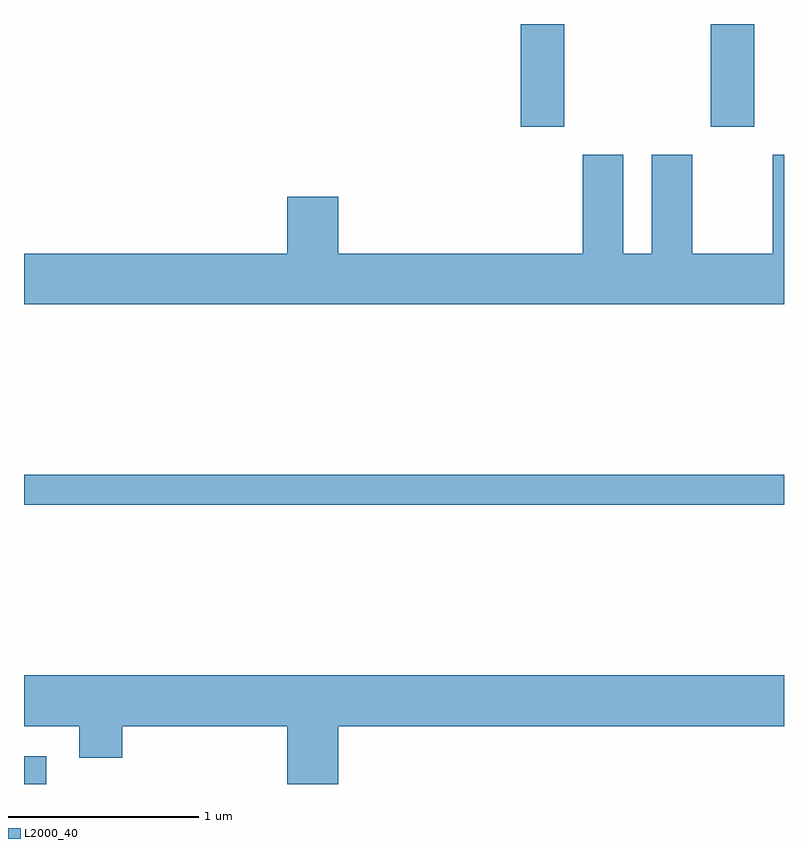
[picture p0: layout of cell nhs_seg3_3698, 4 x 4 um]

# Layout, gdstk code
import gdstk
lib = gdstk.Library(unit=1e-6, precision=1e-09)
def R(c, l, rs):  # rectangles x0, y0, x1, y1
    for r in rs: c.add(gdstk.rectangle(r[:2], r[2:], *l))
def P(c, l, *ps):  # polygons
    for p in ps: c.add(gdstk.Polygon(p, *l))
L2000_40 = (2000, 40)

nhs_seg3_3698 = lib.new_cell('nhs_seg3_3698')
R(nhs_seg3_3698, L2000_40, [(293.611,1167.892,293.729,1168.039), (293.611,1169.361,297.611,1169.519), (296.226,1171.351,296.454,1171.892), (297.226,1171.351,297.454,1171.892)])
P(nhs_seg3_3698, L2000_40, [(297.611,1171.204),(297.551,1171.204),(297.551,1170.684),(297.129,1170.684),(297.129,1171.204),(296.916,1171.204),(296.916,1170.684),(296.764,1170.684),(296.764,1171.204),(296.551,1171.204),(296.551,1170.684),(295.264,1170.684),(295.264,1170.984),(294.996,1170.984),(294.996,1170.684),(293.611,1170.684),(293.611,1170.416),(297.611,1170.416)],
  [(295.264,1168.196),(297.611,1168.196),(297.611,1168.464),(293.611,1168.464),(293.611,1168.196),(293.901,1168.196),(293.901,1168.031),(294.129,1168.031),(294.129,1168.196),(294.996,1168.196),(294.996,1167.892),(295.264,1167.892)])

lib.write_gds('nhs_seg3_3698.gds')
